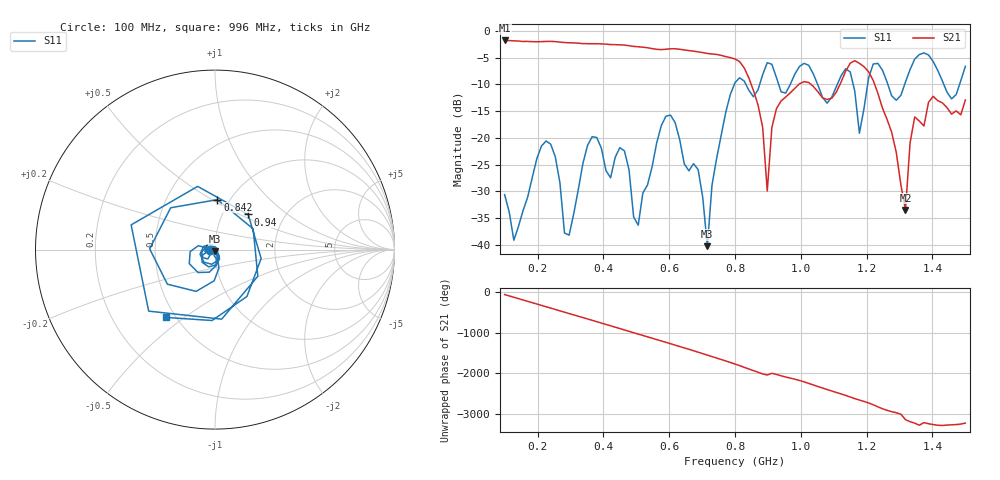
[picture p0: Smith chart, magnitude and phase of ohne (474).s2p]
! NanoVNA-App
! Date: 2025-09-25 14:24:29
! Start: 100MHz Stop: 1,5GHz Points: 101
! S-Parameter data: F S11 S21 S12 S22
# Hz S RI R 50
!  Frequency  S11_Real  S11_Imag  S21_Real  S21_Imag  S12_Real  S12_Imag  S22_Real  S22_Imag
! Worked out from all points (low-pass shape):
!   101 points, 100 MHz to 1.5 GHz, reference 50 ohm
!   highest |S21| = -1.79 dB at 100 MHz (marker M1); lowest = -33.5 dB at 1.318 GHz (marker M2)
!   |S21| within 3 dB of the highest: start of sweep to 770.7 MHz
!   lowest |S11| = -40.3 dB at 716 MHz (marker M3), VSWR 1.02, Z = 49.9 - j0.957 ohm
!   |S11| at or under -10 dB: start of sweep to 798 MHz; 833 MHz to 875.1 MHz (42.02 MHz wide, 4.92 % of centre); 1.051 GHz to 1.111 GHz (59.93 MHz wide, 5.54 % of centre) (the widest 3 of 7)
!   S12 and S22 are empty: the file has one direction only
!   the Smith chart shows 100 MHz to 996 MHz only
!   S11 on the Smith chart (normalised r, x): 100 MHz: 0.94, -0.01; 842 MHz: 0.88, +0.53; 940 MHz: 1.32, +0.56; 996 MHz: 0.44, -0.43
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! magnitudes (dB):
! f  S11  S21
! 100 MHz  -30.6  -1.8
! 128 MHz  -39.1  -1.9
! 226 MHz  -20.6  -2.0
! 296 MHz  -38.2  -2.2
! 338 MHz  -24.8  -2.4
! 464 MHz  -22.4  -2.7
! 506 MHz  -36.3  -3.0
! 576 MHz  -17.7  -3.5
! 688 MHz  -25.9  -3.9
! 716 MHz  -40.3  -4.2
! 800 MHz  -9.7  -5.3
! 842 MHz  -11.1  -8.8
! 898 MHz  -6.0  -30.0
! 940 MHz  -11.4  -13.1
! 996 MHz  -6.6  -9.9
! 1.038 GHz  -8.1  -10.4
! 1.178 GHz  -19.1  -6.1
! 1.22 GHz  -6.2  -9.3
! 1.276 GHz  -12.1  -19.0
! 1.318 GHz  -9.6  -33.5
! 1.346 GHz  -5.3  -16.1
! 1.5 GHz  -6.6  -12.9
